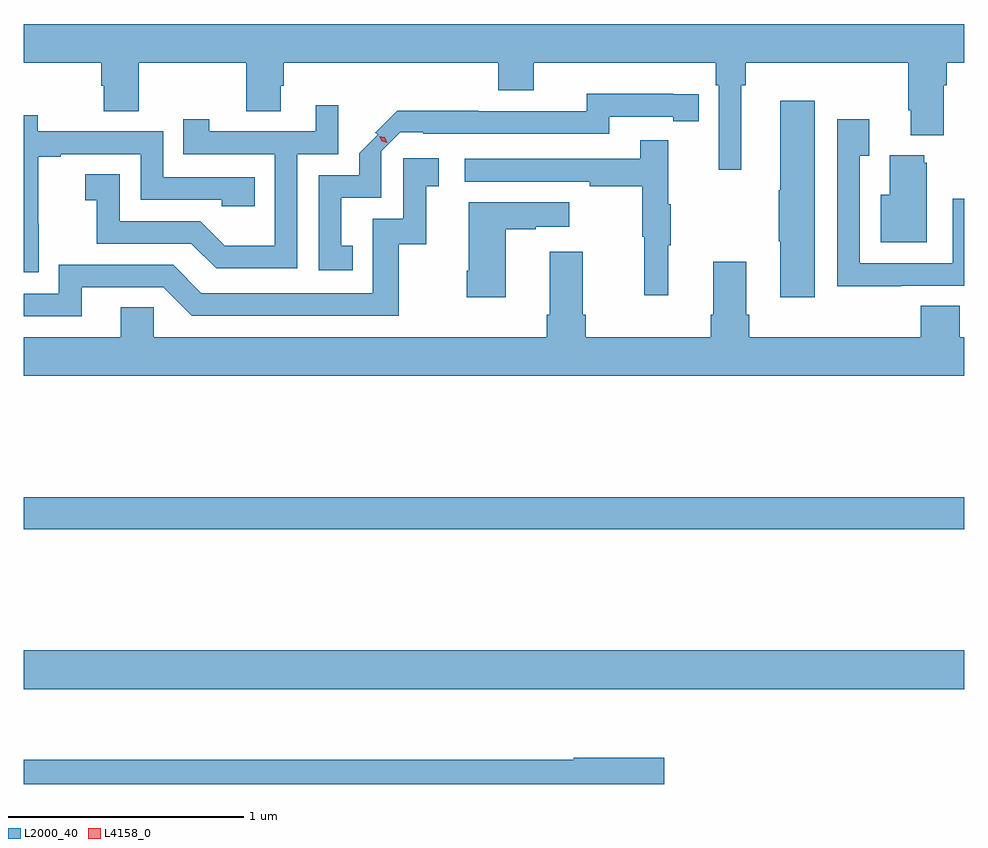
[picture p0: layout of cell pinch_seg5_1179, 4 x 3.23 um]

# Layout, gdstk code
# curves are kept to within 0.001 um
import gdstk
lib = gdstk.Library(unit=1e-6, precision=1e-09)
def R(c, l, rs):  # rectangles x0, y0, x1, y1
    for r in rs: c.add(gdstk.rectangle(r[:2], r[2:], *l))
def P(c, l, *ps):  # polygons
    for p in ps: c.add(gdstk.Polygon(p, *l))
L2000_40 = (2000, 40)
L4158_0 = (4158, 0)

pinch_seg5_1179 = lib.new_cell('pinch_seg5_1179')
R(pinch_seg5_1179, L2000_40, [(527.31,895.388,531.31,895.552), (527.31,896.068,531.31,896.204)])
P(pinch_seg5_1179, L2000_40, [(530.362,897.956),(530.381,897.956),(530.381,898.052),(531.071,898.052),(531.071,897.85),(531.083,897.85),(531.083,897.743),(531.223,897.743),(531.223,897.956),(531.236,897.956),(531.236,898.052),(531.31,898.052),(531.31,898.216),(527.31,898.216),(527.31,898.052),(527.639,898.052),(527.639,897.954),(527.651,897.954),(527.651,897.844),(527.799,897.844),(527.799,898.052),(528.256,898.052),(528.256,897.844),(528.403,897.844),(528.403,897.954),(528.416,897.954),(528.416,898.052),(529.328,898.052),(529.328,897.935),(529.48,897.935),(529.48,898.052),(530.252,898.052),(530.252,897.956),(530.265,897.956),(530.265,897.597),(530.362,897.597)],
  [(528.71,897.273),(528.661,897.273),(528.661,897.477),(528.831,897.477),(528.831,897.675),(528.912,897.756),(529.009,897.756),(529.009,897.75),(529.8,897.75),(529.8,897.822),(530.072,897.822),(530.072,897.802),(530.18,897.802),(530.18,897.918),(529.704,897.919),(529.704,897.846),(529.244,897.846),(529.244,897.848),(528.899,897.848),(528.806,897.754),(528.816,897.744),(528.738,897.666),(528.738,897.573),(528.564,897.573),(528.564,897.168),(528.71,897.168)],
  [(530.674,897.889),(530.528,897.889),(530.528,897.509),(530.521,897.509),(530.521,897.292),(530.528,897.292),(530.528,897.054),(530.674,897.054)],
  [(528.474,897.663),(528.648,897.663),(528.648,897.871),(528.551,897.871),(528.551,897.759),(528.1,897.759),(528.1,897.811),(527.989,897.811),(527.989,897.663),(528.378,897.663),(528.378,897.274),(528.164,897.274),(528.06,897.378),(527.718,897.378),(527.718,897.577),(527.571,897.577),(527.571,897.467),(527.62,897.467),(527.62,897.282),(528.023,897.282),(528.128,897.177),(528.474,897.177)],
  [(527.373,897.367),(527.372,897.367),(527.372,897.651),(527.467,897.651),(527.467,897.663),(527.808,897.663),(527.808,897.468),(528.153,897.468),(528.153,897.441),(528.293,897.441),(528.293,897.564),(527.904,897.564),(527.904,897.759),(527.37,897.759),(527.37,897.828),(527.31,897.828),(527.31,897.161),(527.373,897.161)],
  [(531.041,897.102),(531.31,897.102),(531.31,897.472),(531.261,897.472),(531.261,897.198),(530.865,897.198),(530.865,897.655),(530.905,897.655),(530.905,897.811),(530.769,897.811),(530.769,897.101),(531.041,897.101)],
  [(530.051,897.275),(530.062,897.275),(530.062,897.449),(530.051,897.449),(530.051,897.721),(529.933,897.721),(529.933,897.642),(529.185,897.642),(529.185,897.546),(529.717,897.546),(529.717,897.526),(529.941,897.526),(529.941,897.312),(529.948,897.312),(529.948,897.063),(530.051,897.063)],
  [(531.151,897.627),(531.14,897.627),(531.14,897.658),(530.993,897.658),(530.993,897.49),(530.954,897.49),(530.954,897.287),(531.151,897.287)],
  [(527.557,897.096),(527.904,897.096),(528.024,896.976),(528.904,896.976),(528.904,897.279),(529.022,897.279),(529.022,897.525),(529.075,897.525),(529.075,897.646),(528.924,897.646),(528.924,897.387),(528.795,897.387),(528.795,897.072),(528.066,897.072),(527.946,897.192),(527.46,897.192),(527.46,897.069),(527.31,897.069),(527.31,896.973),(527.557,896.973)],
  [(529.36,897.343),(529.487,897.343),(529.487,897.353),(529.63,897.353),(529.63,897.457),(529.202,897.457),(529.202,897.166),(529.195,897.166),(529.195,897.054),(529.36,897.054)],
  [(530.383,896.98),(530.383,897.205),(530.243,897.205),(530.243,896.98),(530.231,896.98),(530.231,896.884),(529.7,896.884),(529.7,896.98),(529.687,896.98),(529.687,897.247),(529.547,897.247),(529.547,896.98),(529.535,896.98),(529.535,896.884),(527.862,896.884),(527.862,897.011),(527.723,897.011),(527.723,896.884),(527.31,896.884),(527.31,896.72),(531.31,896.72),(531.31,896.884),(531.29,896.884),(531.29,897.017),(531.125,897.017),(531.125,896.884),(530.396,896.884),(530.396,896.98)],
  [(530.035,895.095),(529.65,895.095),(529.65,895.087),(527.31,895.087),(527.31,894.984),(530.035,894.984)])
P(pinch_seg5_1179, L4158_0, [(528.855,897.712),(528.832,897.718),(528.821,897.739),(528.821,897.739),(528.822,897.739),(528.845,897.734),(528.856,897.713),(528.856,897.712)])

lib.write_gds('pinch_seg5_1179.gds')
